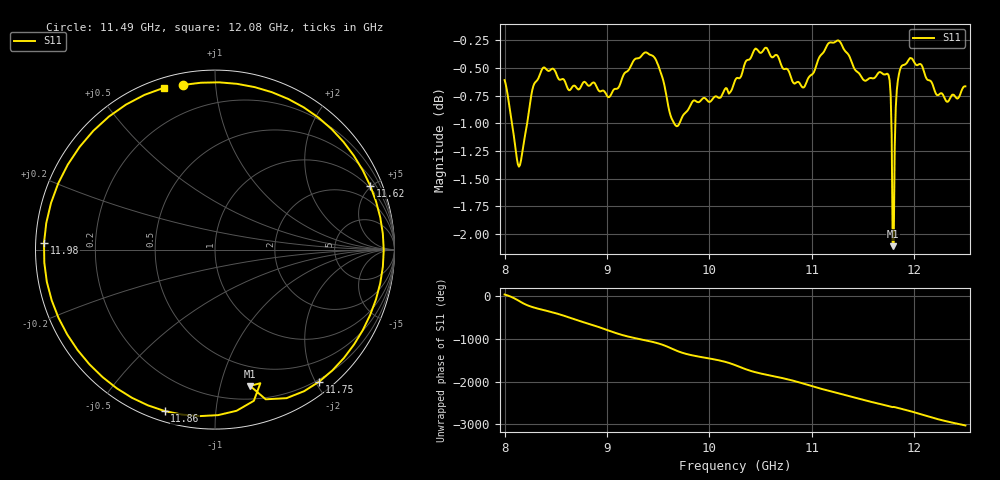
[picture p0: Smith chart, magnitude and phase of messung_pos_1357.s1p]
#  HZ  S  RI  R  50.00
! Rohde & Schwarz Vector Network Analyzer
! Rohde-Schwarz,ZNA43-4Port,1332450044101932,2.92
! Created: UTC 6/1/2026, 11:34:12 AM
! freq[Hz]  re:S11  im:S11
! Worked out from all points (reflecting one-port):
!   451 points, 8 GHz to 12.5 GHz, reference 50 ohm
!   lowest |S11| = -2.1 dB at 11.79 GHz (marker M1), VSWR 8.27, Z = 15.7 - j62.1 ohm
!   phase of S11 starts at 27 deg and turns -3050 deg over the sweep
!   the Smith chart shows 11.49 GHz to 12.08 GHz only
!   S11 on the Smith chart (normalised r, x): 11.49 GHz: 0.06, +0.82; 11.62 GHz: 0.86, +4.90; 11.75 GHz: 0.17, -2.05; 11.86 GHz: 0.05, -0.73; 11.98 GHz: 0.02, +0.02; 12.08 GHz: 0.04, +0.73
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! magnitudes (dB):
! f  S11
! 8 GHz  -0.6
! 8.14 GHz  -1.4
! 8.3 GHz  -0.6
! 8.39 GHz  -0.5
! 8.57 GHz  -0.6
! 9.02 GHz  -0.8
! 9.13 GHz  -0.6
! 9.45 GHz  -0.4
! 9.69 GHz  -1.0
! 9.84 GHz  -0.8
! 10.25 GHz  -0.6
! 10.55 GHz  -0.3
! 10.82 GHz  -0.6
! 10.93 GHz  -0.7
! 11.18 GHz  -0.3
! 11.38 GHz  -0.4
! 11.49 GHz  -0.6
! 11.62 GHz  -0.6
! 11.75 GHz  -0.6
! 11.79 GHz  -2.1
! 11.81 GHz  -1.2
! 11.83 GHz  -0.7
! 11.86 GHz  -0.5
! 11.94 GHz  -0.4
! 11.98 GHz  -0.4
! 12.08 GHz  -0.5
! 12.32 GHz  -0.8
! 12.5 GHz  -0.7
